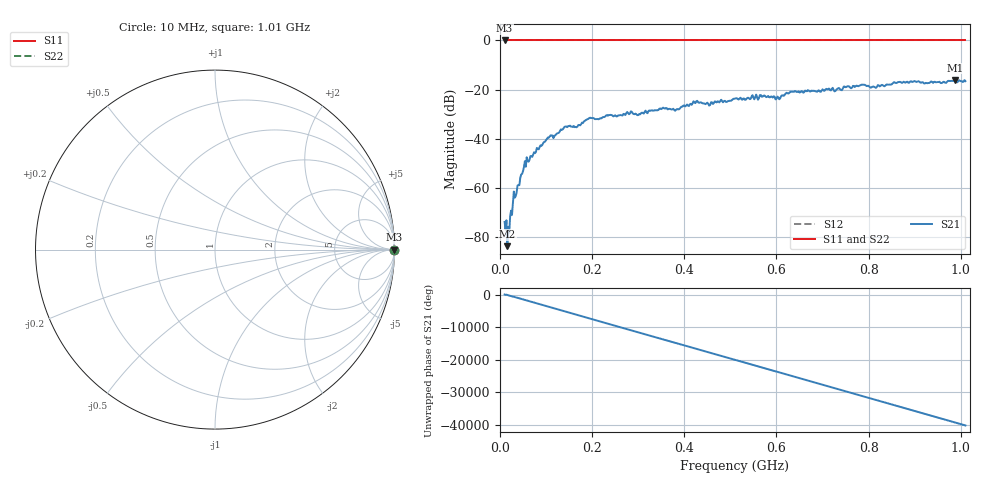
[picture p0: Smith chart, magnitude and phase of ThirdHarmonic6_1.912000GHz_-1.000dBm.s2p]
! 8/16/2025 11:04:03 PM
! C:\ANRITSUVNA\TEMP\TEMP.S2P
! CHANNEL.1
! TR.MEASUREMENT
! RAW.DATA
! RF.CORRECTION.OFF
! AVERAGING.OFF
! IF.BANDWIDTH: 5KHZ
! SWEEPTYPE:  FREQ.SWEEP(Linear)
! Reference Plane Port Info
! PORT:  PORT1  PORT2
! DISTANCE:  0  m  0  m
! TIME:  0  s  0  s
! PHASE.OFFSET:  0  deg.  0  deg.
! LOSS:  0  dB  0  dB
! REF.LOSS:  0  dB  0  dB
! REF.FREQ:  0  Hz  0  Hz
! Power Info
! POWER:  -20  dBm  -20  dBm
! EFF.POWER:  -20  dBm  -20  dBm
! SOURCE.ATTEN:  0  dB  0  dB
! TEST.ATTEN:  0  dB  0  dB
# GHZ S RI R 50.0
! FREQ.GHZ  S11RE  S11IM  S21RE  S21IM  S12RE  S12IM  S22RE  S22IM
!; PortSelection: Port_12
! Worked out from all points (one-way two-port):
!   501 points, 10 MHz to 1.01 GHz, reference 50 ohm
!   highest |S21| = -16.04 dB at 988 MHz (marker M1); lowest = -83.7 dB at 16 MHz (marker M2)
!   lowest |S11| = 0.0 dB at 10 MHz (marker M3)
!   |S11| at or under -10 dB: nowhere
!   |S22| runs from 0.0 to 0.0 dB; largest |S21 - S12| = 1.1
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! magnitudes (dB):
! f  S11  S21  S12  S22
! 10 MHz  0.0  -73.8  0.0  0.0
! 16 MHz  0.0  -83.7  0.0  0.0
! 20 MHz  0.0  -78.3  0.0  0.0
! 26 MHz  0.0  -71.0  0.0  0.0
! 34 MHz  0.0  -63.4  0.0  0.0
! 56 MHz  0.0  -51.4  0.0  0.0
! 106 MHz  0.0  -39.6  0.0  0.0
! 144 MHz  0.0  -35.0  0.0  0.0
! 178 MHz  0.0  -33.4  0.0  0.0
! 196 MHz  0.0  -31.4  0.0  0.0
! 344 MHz  0.0  -28.3  0.0  0.0
! 384 MHz  0.0  -27.9  0.0  0.0
! 424 MHz  0.0  -25.5  0.0  0.0
! 452 MHz  0.0  -25.8  0.0  0.0
! 510 MHz  0.0  -23.7  0.0  0.0
! 568 MHz  0.0  -22.9  0.0  0.0
! 602 MHz  0.0  -22.8  0.0  0.0
! 634 MHz  0.0  -20.8  0.0  0.0
! 678 MHz  0.0  -20.5  0.0  0.0
! 844 MHz  0.0  -18.0  0.0  0.0
! 988 MHz  0.0  -16.0  0.0  0.0
! 1.01 GHz  0.0  -16.5  0.0  0.0
